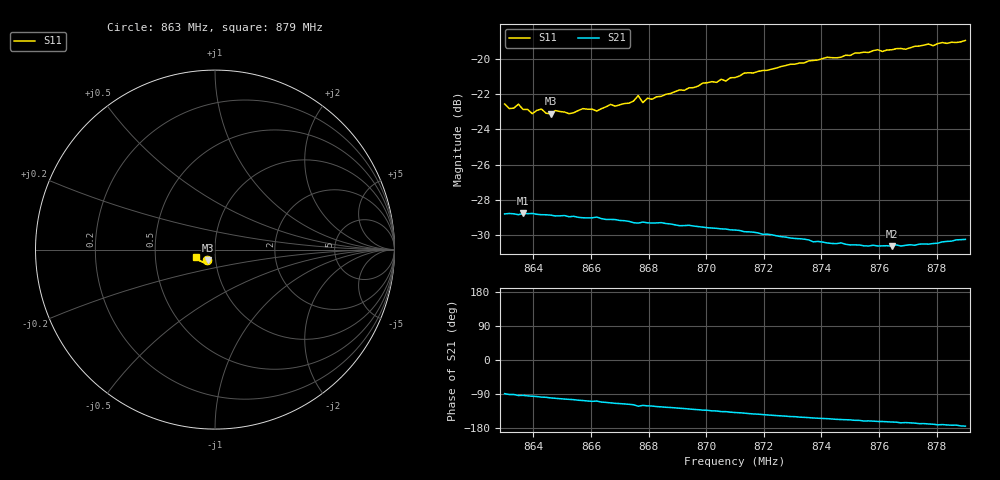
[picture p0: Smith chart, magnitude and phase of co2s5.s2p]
# HZ S RI R 50
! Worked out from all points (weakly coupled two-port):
!   101 points, 863 MHz to 879 MHz, reference 50 ohm
!   highest |S21| = -28.78 dB at 863.64 MHz (marker M1); lowest = -30.6 dB at 876.44 MHz (marker M2)
!   lowest |S11| = -23.1 dB at 864.6 MHz (marker M3), VSWR 1.15, Z = 46 - j5.37 ohm
!   |S11| at or under -10 dB: start of sweep to end of sweep
!   S12 and S22 are empty: the file has one direction only
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8.63e8  -0.0463 -0.0584  0.000754 -0.0363  0 0  0 0
8.6316e8  -0.0428 -0.0583  -0.000633 -0.0364  0 0  0 0
8.6348e8  -0.0462 -0.0584  -0.00234 -0.036  0 0  0 0
8.6364e8  -0.0433 -0.0574  -0.00206 -0.0363  0 0  0 0
8.6396e8  -0.0397 -0.0576  -0.00355 -0.0362  0 0  0 0
8.6428e8  -0.0394 -0.0603  -0.00498 -0.0357  0 0  0 0
8.646e8  -0.0388 -0.0581  -0.00627 -0.0354  0 0  0 0
8.6476e8  -0.0398 -0.0592  -0.00688 -0.0351  0 0  0 0
8.6524e8  -0.0372 -0.0592  -0.00856 -0.0346  0 0  0 0
8.6572e8  -0.0378 -0.0616  -0.0103 -0.0338  0 0  0 0
8.662e8  -0.0354 -0.0617  -0.0111 -0.0337  0 0  0 0
8.6668e8  -0.0388 -0.0634  -0.0137 -0.0322  0 0  0 0
8.6732e8  -0.0386 -0.0642  -0.0157 -0.0308  0 0  0 0
8.6764e8  -0.0419 -0.0666  -0.0181 -0.029  0 0  0 0
8.678e8  -0.0391 -0.0642  -0.0171 -0.0299  0 0  0 0
8.6796e8  -0.04 -0.0663  -0.0176 -0.0293  0 0  0 0
8.6844e8  -0.0407 -0.067  -0.019 -0.0285  0 0  0 0
8.6988e8  -0.0466 -0.0716  -0.0224 -0.0246  0 0  0 0
8.71e8  -0.0526 -0.0713  -0.0245 -0.0216  0 0  0 0
8.7372e8  -0.0705 -0.0697  -0.0269 -0.0137  0 0  0 0
8.7644e8  -0.0901 -0.0563  -0.0282 -0.00827  0 0  0 0
8.79e8  -0.1061 -0.0386  -0.0306 -0.00294  0 0  0 0
